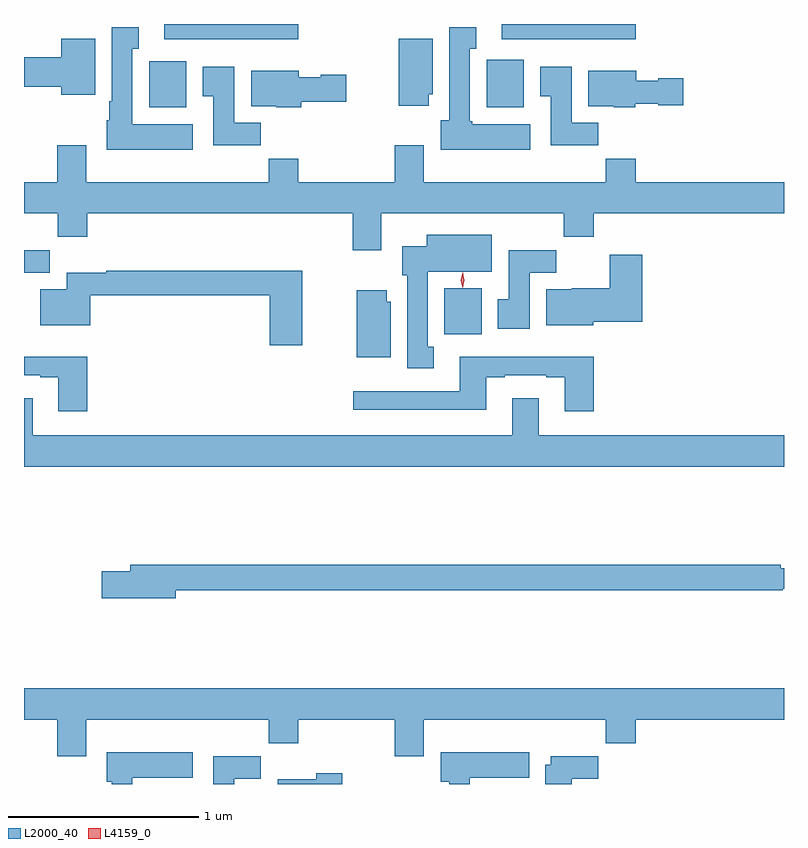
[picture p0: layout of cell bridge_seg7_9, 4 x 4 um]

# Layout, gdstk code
import gdstk
lib = gdstk.Library(unit=1e-6, precision=1e-09)
def R(c, l, rs):  # rectangles x0, y0, x1, y1
    for r in rs: c.add(gdstk.rectangle(r[:2], r[2:], *l))
def P(c, l, *ps):  # polygons
    for p in ps: c.add(gdstk.Polygon(p, *l))
L2000_40 = (2000, 40)
L4159_0 = (4159, 0)

bridge_seg7_9 = lib.new_cell('bridge_seg7_9')
R(bridge_seg7_9, L2000_40, [(1086.218,1069.244,1086.415,1069.486), (1084.006,1069.568,1084.142,1069.686), (1084.664,1070.438,1084.861,1070.68), (1086.441,1070.438,1086.637,1070.688), (1084.745,1070.798,1085.45,1070.877), (1086.521,1070.798,1087.226,1070.877)])
P(bridge_seg7_9, L2000_40, [(1084.894,1070.35),(1084.576,1070.35),(1084.576,1070.747),(1084.609,1070.747),(1084.609,1070.86),(1084.469,1070.86),(1084.469,1070.47),(1084.454,1070.47),(1084.454,1070.37),(1084.442,1070.37),(1084.442,1070.216),(1084.894,1070.216)],
  [(1086.67,1070.35),(1086.366,1070.35),(1086.366,1070.364),(1086.352,1070.364),(1086.352,1070.747),(1086.385,1070.747),(1086.385,1070.86),(1086.245,1070.86),(1086.245,1070.37),(1086.2,1070.37),(1086.2,1070.216),(1086.67,1070.216)],
  [(1086.136,1070.508),(1086.157,1070.508),(1086.157,1070.8),(1085.978,1070.8),(1085.978,1070.448),(1086.136,1070.448)],
  [(1084.381,1070.8),(1084.202,1070.8),(1084.202,1070.702),(1084.006,1070.702),(1084.006,1070.546),(1084.202,1070.546),(1084.202,1070.504),(1084.381,1070.504)],
  [(1085.252,1070.356),(1085.113,1070.356),(1085.113,1070.653),(1084.946,1070.653),(1084.946,1070.497),(1085.003,1070.497),(1085.003,1070.238),(1085.252,1070.238)],
  [(1087.028,1070.356),(1086.889,1070.356),(1086.889,1070.653),(1086.722,1070.653),(1086.722,1070.497),(1086.779,1070.497),(1086.779,1070.238),(1087.028,1070.238)],
  [(1087.224,1070.456),(1087.344,1070.456),(1087.344,1070.449),(1087.477,1070.449),(1087.477,1070.591),(1087.344,1070.591),(1087.344,1070.578),(1087.228,1070.578),(1087.228,1070.632),(1086.977,1070.632),(1086.977,1070.444),(1087.11,1070.444),(1087.11,1070.438),(1087.224,1070.438)],
  [(1085.465,1070.467),(1085.701,1070.467),(1085.701,1070.609),(1085.568,1070.609),(1085.568,1070.596),(1085.452,1070.596),(1085.452,1070.632),(1085.201,1070.632),(1085.201,1070.444),(1085.334,1070.444),(1085.334,1070.438),(1085.465,1070.438)],
  [(1084.183,1069.756),(1084.34,1069.756),(1084.34,1069.88),(1085.735,1069.88),(1085.735,1069.686),(1085.887,1069.686),(1085.887,1069.88),(1086.847,1069.88),(1086.847,1069.756),(1087.004,1069.756),(1087.004,1069.88),(1088.006,1069.88),(1088.006,1070.044),(1087.226,1070.044),(1087.226,1070.168),(1087.069,1070.168),(1087.069,1070.044),(1086.109,1070.044),(1086.109,1070.239),(1085.957,1070.239),(1085.957,1070.044),(1085.45,1070.044),(1085.45,1070.168),(1085.293,1070.168),(1085.293,1070.044),(1084.333,1070.044),(1084.333,1070.239),(1084.181,1070.239),(1084.181,1070.044),(1084.006,1070.044),(1084.006,1069.88),(1084.183,1069.88)],
  [(1086.163,1069.178),(1086.13,1069.178),(1086.13,1069.574),(1086.469,1069.574),(1086.469,1069.768),(1086.125,1069.768),(1086.125,1069.708),(1085.996,1069.708),(1085.996,1069.554),(1086.023,1069.554),(1086.023,1069.065),(1086.163,1069.065)],
  [(1086.667,1069.568),(1086.806,1069.568),(1086.806,1069.686),(1086.557,1069.686),(1086.557,1069.428),(1086.5,1069.428),(1086.5,1069.272),(1086.667,1069.272)],
  [(1087.002,1069.31),(1087.259,1069.31),(1087.259,1069.663),(1087.088,1069.663),(1087.088,1069.486),(1086.888,1069.486),(1086.888,1069.48),(1086.755,1069.48),(1086.755,1069.292),(1087.002,1069.292)],
  [(1085.47,1069.579),(1084.438,1069.579),(1084.438,1069.568),(1084.232,1069.568),(1084.232,1069.48),(1084.091,1069.48),(1084.091,1069.292),(1084.355,1069.292),(1084.355,1069.45),(1085.3,1069.45),(1085.3,1069.185),(1085.47,1069.185)],
  [(1085.935,1069.416),(1085.914,1069.416),(1085.914,1069.477),(1085.756,1069.477),(1085.756,1069.124),(1085.935,1069.124)],
  [(1084.34,1069.126),(1084.006,1069.126),(1084.006,1069.029),(1084.091,1069.029),(1084.091,1069.017),(1084.187,1069.017),(1084.187,1068.84),(1084.34,1068.84)],
  [(1087.004,1069.126),(1086.299,1069.126),(1086.299,1068.945),(1085.739,1068.945),(1085.739,1068.848),(1086.439,1068.848),(1086.439,1069.017),(1086.535,1069.017),(1086.535,1069.029),(1086.755,1069.029),(1086.755,1069.017),(1086.851,1069.017),(1086.851,1068.84),(1087.004,1068.84)],
  [(1088.006,1068.712),(1086.715,1068.712),(1086.715,1068.907),(1086.575,1068.907),(1086.575,1068.712),(1084.051,1068.712),(1084.051,1068.907),(1084.006,1068.907),(1084.006,1068.548),(1088.006,1068.548)],
  [(1084.804,1067.896),(1088,1067.896),(1088,1067.904),(1088.006,1067.904),(1088.006,1068.013),(1087.988,1068.013),(1087.988,1068.032),(1084.565,1068.032),(1084.565,1067.996),(1084.416,1067.996),(1084.416,1067.854),(1084.804,1067.854)],
  [(1084.333,1067.216),(1085.293,1067.216),(1085.293,1067.092),(1085.45,1067.092),(1085.45,1067.216),(1085.957,1067.216),(1085.957,1067.022),(1086.109,1067.022),(1086.109,1067.216),(1087.069,1067.216),(1087.069,1067.092),(1087.226,1067.092),(1087.226,1067.216),(1088.006,1067.216),(1088.006,1067.38),(1084.006,1067.38),(1084.006,1067.216),(1084.181,1067.216),(1084.181,1067.022),(1084.333,1067.022)],
  [(1086.352,1066.91),(1086.664,1066.91),(1086.664,1067.044),(1086.2,1067.044),(1086.2,1066.89),(1086.245,1066.89),(1086.245,1066.877),(1086.352,1066.877)],
  [(1084.576,1066.91),(1084.894,1066.91),(1084.894,1067.044),(1084.442,1067.044),(1084.442,1066.89),(1084.469,1066.89),(1084.469,1066.877),(1084.576,1066.877)],
  [(1086.889,1066.904),(1087.028,1066.904),(1087.028,1067.023),(1086.779,1067.023),(1086.779,1066.978),(1086.749,1066.978),(1086.749,1066.877),(1086.889,1066.877)],
  [(1085.113,1066.904),(1085.252,1066.904),(1085.252,1067.023),(1085.003,1067.023),(1085.003,1066.877),(1085.113,1066.877)],
  [(1085.682,1066.933),(1085.545,1066.933),(1085.545,1066.903),(1085.342,1066.903),(1085.342,1066.877),(1085.682,1066.877)])
P(bridge_seg7_9, L4159_0, [(1086.314,1069.488),(1086.314,1069.489),(1086.304,1069.529),(1086.314,1069.57),(1086.314,1069.57),(1086.314,1069.57),(1086.324,1069.529),(1086.315,1069.489)])

lib.write_gds('bridge_seg7_9.gds')
